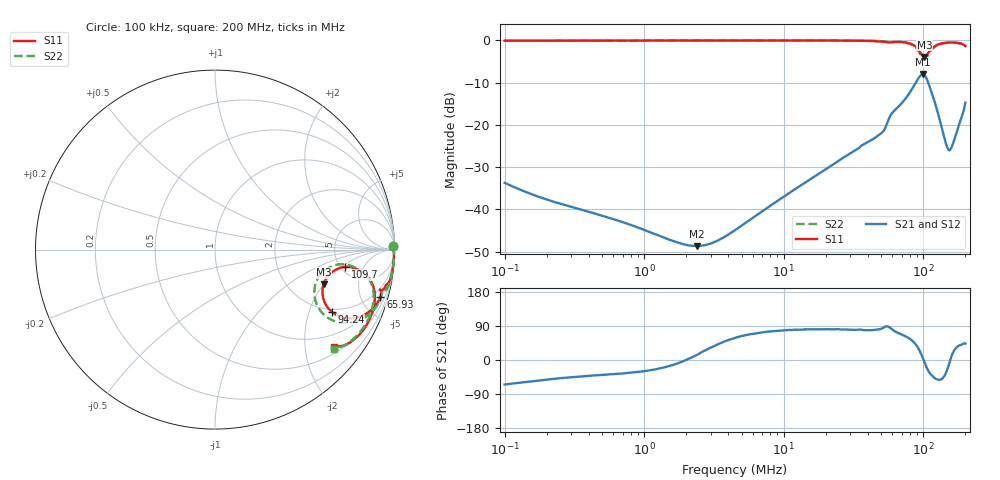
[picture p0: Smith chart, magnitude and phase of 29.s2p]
#  HZ  S  RI  R  50.00
! Rohde & Schwarz Vector Network Analyzer
! Rohde-Schwarz,ZNLE6-2Port,1323001256200024,1.71.1.10-23.02.1.238
! Created: UTC 4/7/2025, 5:48:44 AM
! freq[Hz]  re:S11  im:S11  re:S21  im:S21  re:S12  im:S12  re:S22  im:S22
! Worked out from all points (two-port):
!   1001 points, 100 kHz to 200 MHz, reference 50 ohm
!   highest |S21| = -8.05 dB at 99.39 MHz (marker M1); lowest = -48.7 dB at 2.38 MHz (marker M2)
!   |S21| within 3 dB of the highest: 84.58 MHz to 111 MHz (26.45 MHz wide, 27 % of centre)
!   lowest |S11| = -3.9 dB at 101.7 MHz (marker M3), VSWR 4.48, Z = 154 - j99.7 ohm
!   |S11| at or under -10 dB: nowhere
!   |S22| runs from -4.6 to 0.0 dB; largest |S21 - S12| = 0.0094
!   S11 on the Smith chart (normalised r, x): 100 kHz: 41, +89; 65.93 MHz: 1.05, -6.94; 94.24 MHz: 1.89, -2.85; 109.7 MHz: 5.46, -2.26; 200 MHz: 0.66, -2.67
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100000  0.9913 0.0184  0.00886 -0.0187  0.00888 -0.0187  0.9913 0.0184
355854.1  0.9928 0.00583  0.00722 -0.00677  0.00724 -0.00678  0.9929 0.00582
1266322  0.9955 -0.00124  0.00453 -0.00192  0.00454 -0.00193  0.9956 -0.00141
2379740  0.9965 -0.00684  0.00358 0.000847  0.00358 0.000852  0.9964 -0.00698
3152591  0.9966 -0.0105  0.00328 0.00243  0.00329 0.0024  0.9971 -0.0107
4472136  0.9968 -0.0163  0.00298 0.00484  0.00304 0.00479  0.9974 -0.0164
1.591428e7  0.9951 -0.0639  0.00374 0.0232  0.00397 0.0231  0.9955 -0.0654
3.036509e7  0.9866 -0.1267  0.00828 0.0461  0.00861 0.0458  0.9874 -0.1281
4.939016e7  0.9467 -0.2117  0.0112 0.0777  0.0131 0.077  0.9557 -0.2225
5.663162e7  0.9184 -0.2229  0.00594 0.1181  0.00918 0.1172  0.9274 -0.2425
6.592947e7  0.9216 -0.265  0.0511 0.1543  0.0579 0.1523  0.9165 -0.2891
8.03353e7  0.8455 -0.355  0.1389 0.2012  0.1453 0.1969  0.8263 -0.3831
8.86788e7  0.7423 -0.3823  0.246 0.2061  0.2524 0.1997  0.7107 -0.408
9.423843e7  0.6496 -0.3458  0.3435 0.1506  0.3482 0.1424  0.6084 -0.364
9.938829e7  0.5992 -0.2458  0.3949 0.029  0.3964 0.0205  0.5536 -0.2486
1.016807e8  0.6047 -0.193  0.3876 -0.0339  0.3877 -0.042  0.5612 -0.1876
1.097106e8  0.724 -0.0966  0.2541 -0.1556  0.2521 -0.1612  0.6991 -0.0814
1.267559e8  0.8712 -0.1789  0.087 -0.1106  0.0845 -0.1112  0.8626 -0.1732
1.4424e8  0.889 -0.2944  0.05 -0.0367  0.0487 -0.0374  0.8829 -0.2925
1.521223e8  0.8794 -0.3402  0.0491 -0.0111  0.0483 -0.012  0.8717 -0.3377
1.628929e8  0.857 -0.3965  0.0564 0.0197  0.0565 0.0174  0.8494 -0.3973
2e8  0.6642 -0.5402  0.1334 0.1258  0.138 0.1211  0.6633 -0.5529
